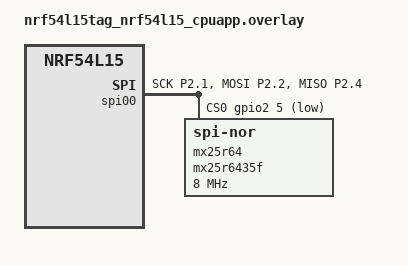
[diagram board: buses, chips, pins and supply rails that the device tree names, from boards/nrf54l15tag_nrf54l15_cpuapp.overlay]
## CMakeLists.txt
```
cmake_minimum_required(VERSION 3.20.0)

find_package(Zephyr REQUIRED HINTS $ENV{ZEPHYR_BASE})
project(tag_flash LANGUAGES C)

target_sources(app PRIVATE src/main.c)
```

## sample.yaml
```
sample:
  name: Tag External Flash Last-Sector Test
  description: >
    HIL: probe MX25R6435F (project-fitted U8) and erase/write/verify the last
    erase sector only. Requires boards overlay enabling mx25r64.

common:
  tags:
    - tag
    - bringup
    - flash

tests:
  applications.tag-flash:
    platform_allow:
      - nrf54l15tag/nrf54l15/cpuapp
    harness: console
```

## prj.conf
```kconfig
# HIL: MX25L3233F (U8) last-sector erase/write/verify
CONFIG_FLASH=y
CONFIG_SPI=y
CONFIG_SPI_NOR=y
CONFIG_SPI_NOR_SFDP_RUNTIME=y
CONFIG_FLASH_PAGE_LAYOUT=y

CONFIG_LOG=y
CONFIG_LOG_DEFAULT_LEVEL=3

CONFIG_MAIN_STACK_SIZE=4096
```

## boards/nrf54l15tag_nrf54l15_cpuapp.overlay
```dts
/*
 * Project U8 MX25R6435F overlay for nRF54L15 Tag.
 *
 * Stock Nordic Tag DTS leaves external flash unpopulated. This project fits U8.
 * CS is documented as P2.05 (Tag HW User Guide). SCK/MOSI/MISO follow the
 * nRF54L15 DK MX25R6435F spi00 pinout (P2.01 / P2.02 / P2.04) — verify against
 * the Tag schematic before the first destructive HIL run.
 */

&pinctrl {
	spi00_default: spi00_default {
		group1 {
			psels = <NRF_PSEL(SPIM_SCK, 2, 1)>,
				<NRF_PSEL(SPIM_MOSI, 2, 2)>,
				<NRF_PSEL(SPIM_MISO, 2, 4)>;
		};
	};

	spi00_sleep: spi00_sleep {
		group1 {
			psels = <NRF_PSEL(SPIM_SCK, 2, 1)>,
				<NRF_PSEL(SPIM_MOSI, 2, 2)>,
				<NRF_PSEL(SPIM_MISO, 2, 4)>;
			low-power-enable;
		};
	};
};

&spi00 {
	status = "okay";
	cs-gpios = <&gpio2 5 GPIO_ACTIVE_LOW>;
	pinctrl-0 = <&spi00_default>;
	pinctrl-1 = <&spi00_sleep>;
	pinctrl-names = "default", "sleep";

	mx25r64: mx25r6435f@0 {
		compatible = "jedec,spi-nor";
		status = "okay";
		reg = <0>;
		spi-max-frequency = <8000000>;
		jedec-id = [c2 28 17];
		size = <67108864>;
		has-dpd;
		t-enter-dpd = <10000>;
		t-exit-dpd = <35000>;
	};
};

/ {
	aliases {
		spi-flash0 = &mx25r64;
	};
};
```

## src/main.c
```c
/*
 * Destructive test on the LAST erase page of MX25L3233F only (4 MiB).
 * Never erases offset 0; never chip-erases.
 *
 * Requires boards/nrf54l15tag_nrf54l15_cpuapp.overlay (project U8 fitted).
 */

#include <errno.h>
#include <string.h>

#include <zephyr/device.h>
#include <zephyr/devicetree.h>
#include <zephyr/drivers/flash.h>
#include <zephyr/kernel.h>
#include <zephyr/logging/log.h>

LOG_MODULE_REGISTER(tag_flash, LOG_LEVEL_INF);

#if !DT_NODE_EXISTS(DT_ALIAS(spi_flash0))
#error "Enable MX25L3233F via boards/nrf54l15tag_nrf54l15_cpuapp.overlay (alias spi-flash0)"
#endif

#define FLASH_NODE DT_ALIAS(spi_flash0)
#define TEST_PATTERN_CAP 256U
#define EXPECTED_SIZE_BYTES (4ULL * 1024ULL * 1024ULL)

int main(void)
{
	const struct device *flash = DEVICE_DT_GET(FLASH_NODE);
	struct flash_pages_info page_info;
	const struct flash_parameters *params;
	uint8_t wbuf[TEST_PATTERN_CAP];
	uint8_t rbuf[TEST_PATTERN_CAP];
	uint64_t flash_size = 0;
	off_t test_offs;
	size_t test_len;
	size_t wbs;
	int rc;

	LOG_WRN("FLASH destroy test: LAST erase sector only (not offset 0)");

	if (!device_is_ready(flash)) {
		LOG_ERR("[PROBE] FAIL device not ready");
		return -ENODEV;
	}

	params = flash_get_parameters(flash);
	wbs = params->write_block_size;
	LOG_INF("[PROBE] ok write_block_size=%zu erase_value=0x%02x", (size_t)wbs,
		params->erase_value);

	rc = flash_get_size(flash, &flash_size);
	if (rc != 0) {
		LOG_ERR("[PROBE] FAIL flash_get_size rc=%d", rc);
		return rc;
	}

	LOG_INF("[PROBE] flash_size=%llu bytes (expect %llu)", (unsigned long long)flash_size,
		(unsigned long long)EXPECTED_SIZE_BYTES);
	if (flash_size != EXPECTED_SIZE_BYTES) {
		LOG_WRN("[PROBE] size mismatch vs 8 MiB — continuing with reported size");
	}

	if (flash_size == 0U) {
		LOG_ERR("[PROBE] FAIL flash_size=0");
		return -EINVAL;
	}

	/* Last byte offset → page containing it. */
	rc = flash_get_page_info_by_offs(flash, (off_t)(flash_size - 1U), &page_info);
	if (rc != 0) {
		LOG_ERR("[PROBE] FAIL flash_get_page_info_by_offs(last) rc=%d", rc);
		return rc;
	}

	test_offs = page_info.start_offset;
	LOG_INF("[PROBE] last_page offs=%zu size=%zu index=%u", (size_t)test_offs,
		(size_t)page_info.size, page_info.index);

	if (test_offs == 0) {
		LOG_ERR("[PROBE] FAIL refusing to destroy page at offset 0");
		return -EINVAL;
	}

	test_len = TEST_PATTERN_CAP;
	if (test_len > page_info.size) {
		test_len = (size_t)page_info.size;
	}
	test_len = (test_len / wbs) * wbs;
	if (test_len == 0U) {
		LOG_ERR("[PROBE] FAIL test_len=0");
		return -EINVAL;
	}

	LOG_INF("[ERASE] offs=%zu size=%zu", (size_t)test_offs, (size_t)page_info.size);
	rc = flash_erase(flash, test_offs, page_info.size);
	if (rc != 0) {
		LOG_ERR("[ERASE] FAIL rc=%d", rc);
		return rc;
	}
	LOG_INF("[ERASE] PASS");

	for (size_t i = 0; i < test_len; i++) {
		wbuf[i] = (uint8_t)(i & 0xFF);
	}

	LOG_INF("[WRITE] offs=%zu len=%zu", (size_t)test_offs, test_len);
	rc = flash_write(flash, test_offs, wbuf, test_len);
	if (rc != 0) {
		LOG_ERR("[WRITE] FAIL rc=%d", rc);
		return rc;
	}
	LOG_INF("[WRITE] PASS");

	memset(rbuf, 0, sizeof(rbuf));
	rc = flash_read(flash, test_offs, rbuf, test_len);
	if (rc != 0) {
		LOG_ERR("[READ] FAIL rc=%d", rc);
		return rc;
	}

	for (size_t i = 0; i < test_len; i++) {
		if (rbuf[i] != wbuf[i]) {
			LOG_ERR("[VERIFY] FAIL at +%zu exp=0x%02x got=0x%02x", i, wbuf[i], rbuf[i]);
			return -EIO;
		}
	}

	LOG_INF("[VERIFY] PASS len=%zu", test_len);
	LOG_INF("tag-flash done");
	return 0;
}
```
